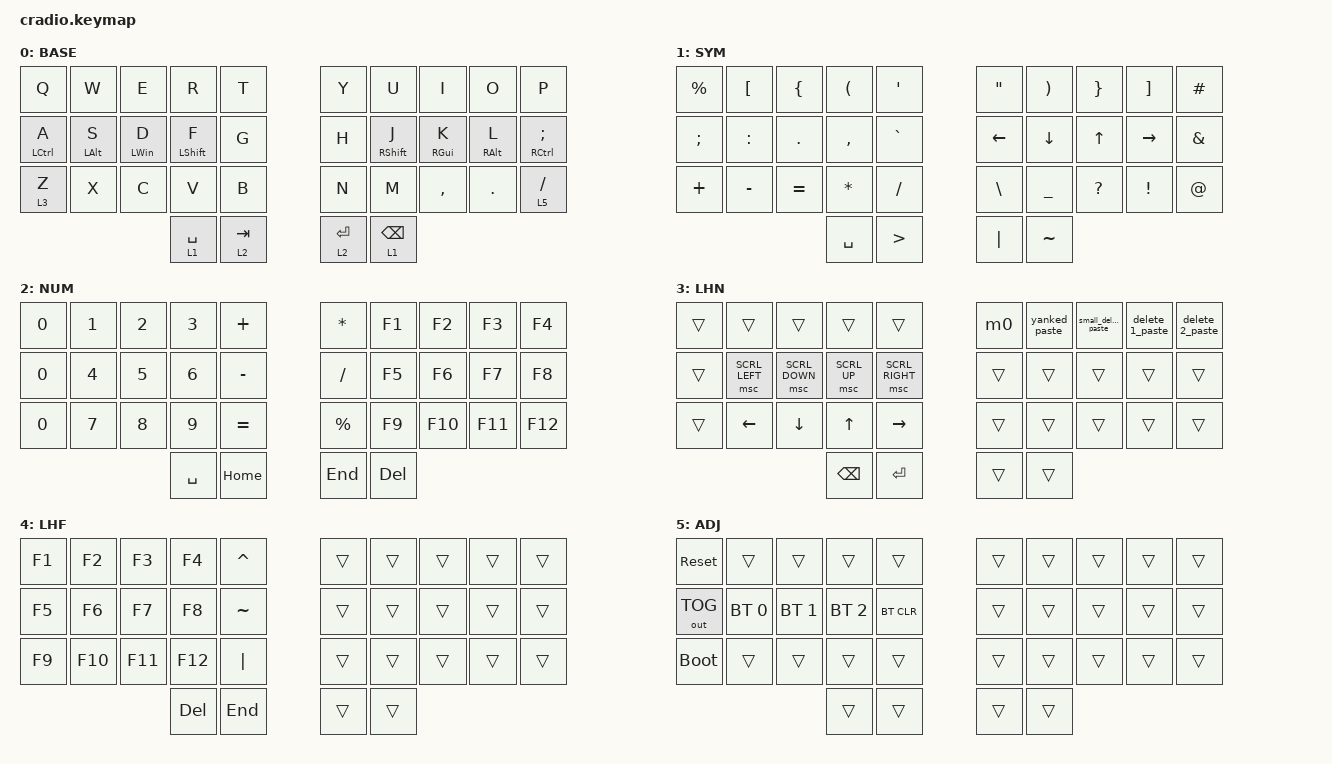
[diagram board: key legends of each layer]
// Copyright (c) 2022 The ZMK Contributors
// SPDX-License-Identifier: MIT

#define ZMK_POINTING_DEFAULT_MOVE_VAL 2500  // 600
#define ZMK_POINTING_DEFAULT_SCRL_VAL 20    // 10

#include <behaviors.dtsi>
#include <dt-bindings/zmk/bt.h>
#include <dt-bindings/zmk/keys.h>
#include <dt-bindings/zmk/outputs.h>
#include <dt-bindings/zmk/pointing.h>

#define MAC 0
#define WIN 1
#define RIG 2
#define LEF 3
#define TRI 4
#define MOUSE 5

// https: //zmk.dev/docs/development/hardware-integration/soft-off-setup?advanced-methods=wakeup&kscan-type=dkscan

&mt {
    quick-tap-ms = <170>;
    require-prior-idle-ms = <80>;
    flavor = "balanced";
    tapping-term-ms = <170>;
};

&lt {
    quick-tap-ms = <170>;
    require-prior-idle-ms = <80>;
    flavor = "balanced";
    tapping-term-ms = <170>;
};

&sk { release-after-ms = <4000>; };

&sl { release-after-ms = <4000>; };

/ {
    keys {
        compatible = "gpio-keys";

        soft_off_gpio_key: soft_off_gpio_key { gpios = <&gpio1 6 (GPIO_ACTIVE_LOW | GPIO_PULL_UP)>; };
    };

    wakeup_scan: wakeup_scan {
        compatible = "zmk,kscan-gpio-direct";
        input-keys = <&soft_off_gpio_key>;
        wakeup-source;
    };

    side_band_behavior_triggers: side_band_behavior_triggers {
        compatible = "zmk,kscan-sideband-behaviors";
        kscan = <&wakeup_scan>;
        auto-enable;
        wakeup-source;
    };

    soft_off_wakers {
        compatible = "zmk,soft-off-wakeup-sources";
        wakeup-sources = <&wakeup_scan>;
    };
};

/ {
    chosen { zmk,charmap = &charmap_us; };

    behaviors {
        mmv {
            acceleration-exponent = <1>;      // 1
            time-to-max-speed-ms = <300>;    // 40
            delay-ms = <0>;                   // 0
        };

        msc {
            acceleration-exponent = <0>;      // 0
            time-to-max-speed-ms = <40>;      // 500
            delay-ms = <0>;                   // 10
        };
    };

    conditional_layers { compatible = "zmk,conditional-layers"; };

    combos {
        compatible = "zmk,combos";

        c0 {
            bindings = <&kp LCTRL>;
            key-positions = <10 19>;
            timeout-ms = <40>;
        };

        c1 {
            bindings = <&kp LEFT_ALT>;
            key-positions = <11 18>;
            timeout-ms = <40>;
        };

        c2 {
            bindings = <&kp LWIN>;
            key-positions = <12 17>;
            timeout-ms = <40>;
        };

        c3 {
            bindings = <&kp LSHFT>;
            key-positions = <13 16>;
            timeout-ms = <40>;
        };

        c4 {
            bindings = <&kp PRINTSCREEN>;
            key-positions = <0 9>;
            timeout-ms = <40>;
        };

        c5 {
            bindings = <&kp ESC>;
            key-positions = <2 3>;
            timeout-ms = <30>;
        };

        c6 {
            bindings = <&sk LSHIFT>;
            key-positions = <2 13>;
            timeout-ms = <30>;
        };

        c9 {
            bindings = <&kp CARET>;
            key-positions = <6 7>;
            timeout-ms = <30>;
        };

        c10 {
            bindings = <&kp DOLLAR>;
            key-positions = <7 8>;
            timeout-ms = <30>;
        };

        c11 {
            bindings = <&kp PAGE_UP>;
            key-positions = <4 3>;
            timeout-ms = <30>;
        };

        c13 {
            bindings = <&sk RSHIFT>;
            key-positions = <7 16>;
            timeout-ms = <30>;
        };

        c14 {
            bindings = <&sl 1>;
            key-positions = <26 27>;
            timeout-ms = <35>;
        };

        c15 {
            bindings = <&sl 2>;
            key-positions = <27 28>;
            timeout-ms = <35>;
        };

        c16 {
            bindings = <&sl 1>;
            key-positions = <22 23>;
            timeout-ms = <35>;
        };

        c17 {
            bindings = <&sl 2>;
            key-positions = <21 22>;
            timeout-ms = <35>;
        };

        c20 {
            bindings = <&kp CAPSLOCK>;
            key-positions = <1 2>;
            timeout-ms = <30>;
        };

        c24 {
            bindings = <&sl 4>;
            key-positions = <30 31>;
            timeout-ms = <60>;
        };

        c26 {
            bindings = <&kp LEFT_SHIFT>;
            key-positions = <32 33>;
            timeout-ms = <60>;
        };

        c27 {
            bindings = <&kp PAGE_DOWN>;
            key-positions = <3 14>;
            timeout-ms = <30>;
        };

        c28 {
            bindings = <&kp DOLLAR>;
            key-positions = <14 24>;
            layers = <4>;
            timeout-ms = <40>;
        };

        c29 {
            bindings = <&kp LESS_THAN>;
            key-positions = <23 30>;
            layers = <1>;
        };

        c30 {
            bindings = <&kp INSERT>;
            key-positions = <23 30>;
            layers = <2>;
        };
    };

    macros {
        m0: m0 {
            compatible = "zmk,behavior-macro";
            #binding-cells = <0>;
            bindings = <&none &kp N5 &kp N7 &kp N3 &kp N8 &kp N6 &kp N0 &kp EXCL &kp LS(K) &kp O &kp L &kp DLLR>;
            label = "M0";
        };

        yanked_paste: yanked_paste {
            compatible = "zmk,behavior-macro";
            #binding-cells = <0>;
            bindings = <&kp DQT &kp N0 &kp P>;
            label = "YANKED_PASTE";
        };

        small_delete_paste: small_delete_paste {
            compatible = "zmk,behavior-macro";
            #binding-cells = <0>;
            bindings = <&kp DQT &kp MINUS &kp P>;
            label = "SMALL_DELETE_PASTE";
        };

        delete_1_paste: delete_1_paste {
            compatible = "zmk,behavior-macro";
            #binding-cells = <0>;
            bindings = <&kp DQT &kp N1 &kp P>;
            label = "DELETE_1_PASTE";
        };

        delete_2_paste: delete_2_paste {
            compatible = "zmk,behavior-macro";
            #binding-cells = <0>;
            bindings = <&kp DQT &kp N2 &kp P>;
            label = "DELETE_2_PASTE";
        };
    };

    keymap {
        compatible = "zmk,keymap";

        base_layer {
            display-name = "BASE";
            bindings = <
&kp Q        &kp W           &kp E           &kp R             &kp T        &kp Y        &kp U              &kp I       &kp O            &kp P
&mt LCTRL A  &mt LEFT_ALT S  &mt LEFT_WIN D  &mt LEFT_SHIFT F  &kp G        &kp H        &mt RIGHT_SHIFT J  &mt RGUI K  &mt RIGHT_ALT L  &mt RCTRL SEMICOLON
&lt 3 Z      &kp X           &kp C           &kp V             &kp B        &kp N        &kp M              &kp COMMA   &kp DOT          &lt 5 SLASH
                                             &lt 1 SPACE       &lt 2 TAB    &lt 2 ENTER  &lt 1 BACKSPACE
            >;
        };

        symbols {
            display-name = "SYM";
            bindings = <
&kp PERCENT    &kp LEFT_BRACKET  &kp LEFT_BRACE  &kp LEFT_PARENTHESIS  &kp SQT             &kp DOUBLE_QUOTES  &kp RIGHT_PARENTHESIS  &kp RIGHT_BRACE  &kp RIGHT_BRACKET  &kp HASH
&kp SEMICOLON  &kp COLON         &kp PERIOD      &kp COMMA             &kp GRAVE           &kp LEFT           &kp DOWN               &kp UP           &kp RIGHT          &kp AMPERSAND
&kp PLUS       &kp MINUS         &kp EQUAL       &kp ASTERISK          &kp SLASH           &kp BACKSLASH      &kp UNDERSCORE         &kp QUESTION     &kp EXCLAMATION    &kp AT_SIGN
                                                 &kp SPACE             &kp GREATER_THAN    &kp PIPE           &kp TILDE
            >;
        };

        numbers {
            display-name = "NUM";
            bindings = <
&kp N0  &kp N1  &kp N2  &kp N3     &kp PLUS     &kp ASTERISK  &kp F1      &kp F2   &kp F3   &kp F4
&kp N0  &kp N4  &kp N5  &kp N6     &kp MINUS    &kp SLASH     &kp F5      &kp F6   &kp F7   &kp F8
&kp N0  &kp N7  &kp N8  &kp N9     &kp EQUAL    &kp PERCENT   &kp F9      &kp F10  &kp F11  &kp F12
                        &kp SPACE  &kp HOME     &kp END       &kp DELETE
            >;
        };

        left_hand_nav {
            display-name = "LHN";
            bindings = <
&trans  &trans          &trans          &trans         &trans             &m0     &yanked_paste  &small_delete_paste  &delete_1_paste  &delete_2_paste
&trans  &msc SCRL_LEFT  &msc SCRL_DOWN  &msc SCRL_UP   &msc SCRL_RIGHT    &trans  &trans         &trans               &trans           &trans
&trans  &kp LEFT        &kp DOWN        &kp UP         &kp RIGHT          &trans  &trans         &trans               &trans           &trans
                                        &kp BACKSPACE  &kp ENTER          &trans  &trans
            >;
        };

        left_hand_f {
            display-name = "LHF";
            bindings = <
&kp F1  &kp F2   &kp F3   &kp F4      &kp CARET    &trans  &trans  &trans  &trans  &trans
&kp F5  &kp F6   &kp F7   &kp F8      &kp TILDE    &trans  &trans  &trans  &trans  &trans
&kp F9  &kp F10  &kp F11  &kp F12     &kp PIPE     &trans  &trans  &trans  &trans  &trans
                          &kp DELETE  &kp END      &trans  &trans
            >;
        };

        adjust_layer {
            display-name = "ADJ";
            bindings = <
&sys_reset    &trans        &trans        &trans        &trans        &trans  &trans  &trans  &trans  &trans
&out OUT_TOG  &bt BT_SEL 0  &bt BT_SEL 1  &bt BT_SEL 2  &bt BT_CLR    &trans  &trans  &trans  &trans  &trans
&bootloader   &trans        &trans        &trans        &trans        &trans  &trans  &trans  &trans  &trans
                                          &trans        &trans        &trans  &trans
            >;
        };
    };
};
